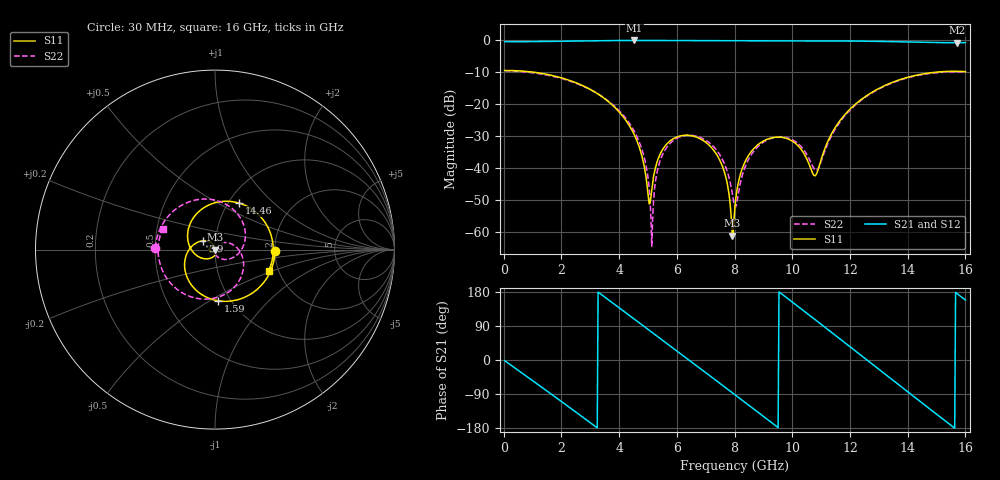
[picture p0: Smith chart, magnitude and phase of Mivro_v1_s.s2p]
! Created Thu May  2 22:41:21 2024
[Version] 2.0
# hz S ma R 50
! 2 Port Network Data from SP1.SP block
[Number of Ports] 2
[Reference] 50 100
[Two-Port Data Order] 12_21
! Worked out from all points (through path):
!   534 points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, 30 MHz to 16 GHz, reference per port
!   highest |S21| = -0.15 dB at 4.53 GHz (marker M1); lowest = -0.8 dB at 15.72 GHz (marker M2)
!   group delay of S21, straight-line fit = 161 ps
!   lowest |S11| = -61.0 dB at 7.92 GHz (marker M3), VSWR 1.00
!   |S11| at or under -10 dB: 985.2 MHz to 15.04 GHz (14.05 GHz wide, 175 % of centre)
!   |S22| runs from -64.3 to -9.6 dB; largest |S21 - S12| = 0
!   S11 on the Smith chart (normalised r, x): 30 MHz: 2.00, -0.04; 1.59 GHz: 0.87, -0.54; 3.9 GHz: 0.87, +0.09; 14.46 GHz: 1.12, +0.63; 16 GHz: 1.77, -0.47
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[Number of Frequencies] 22
[Network Data]
3e7  0.334 -1.6  0.9418 -1.7  0.9418 -1.7  0.3319 178.3
1.59e9  0.2853 -86.9  0.9507 -86.9  0.9507 -86.9  0.2779 92.3
2.7e9  0.1972 -148.8  0.9689 -148.6  0.9689 -148.6  0.1949 30.2
3.9e9  0.08412 144.4  0.9817 143.5  0.9817 143.5  0.08753 -38.4
4.53e9  0.03281 111.8  0.9831 107.6  0.9831 107.6  0.03722 -74.3
4.92e9  0.007795 105.3  0.9827 85.4  0.9827 85.4  0.01165 -94.8
5.13e9  0.00472 -141.1  0.9822 73.4  0.9822 73.4  0.0006067 -26.6
5.37e9  0.01469 -130.4  0.9816 59.7  0.9816 59.7  0.01109 53.1
6.24e9  0.0325 -172.8  0.9792 10.1  0.9792 10.1  0.03203 5.5
7.08e9  0.02368 139.9  0.9776 -38.0  0.9776 -38.0  0.02583 -40.5
7.65e9  0.008621 104.0  0.9766 -70.7  0.9766 -70.7  0.01166 -65.9
7.92e9  0.000888 32.8  0.9761 -86.3  0.9761 -86.3  0.004081 -56.3
8.04e9  0.00329 -79.9  0.9758 -93.2  0.9758 -93.2  0.002474 0.1
8.4e9  0.01358 -111.5  0.975 -114.0  0.975 -114.0  0.01144 48.4
9.12e9  0.02817 -157.3  0.9732 -155.7  0.9732 -155.7  0.02737 17.6
9.87e9  0.02835 152.7  0.9717 160.6  0.9717 160.6  0.02938 -17.2
1.068e10  0.008876 57.1  0.9704 113.1  0.9704 113.1  0.01135 -21.9
1.218e10  0.09876 -155.9  0.9625 24.3  0.9625 24.3  0.09597 19.7
1.335e10  0.2075 128.8  0.9435 -45.5  0.9435 -45.5  0.204 -42.1
1.446e10  0.2914 62.9  0.9202 -111.2  0.9202 -111.2  0.2861 -106.2
1.572e10  0.3245 -6.6  0.9075 174.7  0.9075 174.7  0.3167 176.1
1.6e10  0.321 -21.6  0.9081 158.2  0.9081 158.2  0.3131 158.3
[End]
